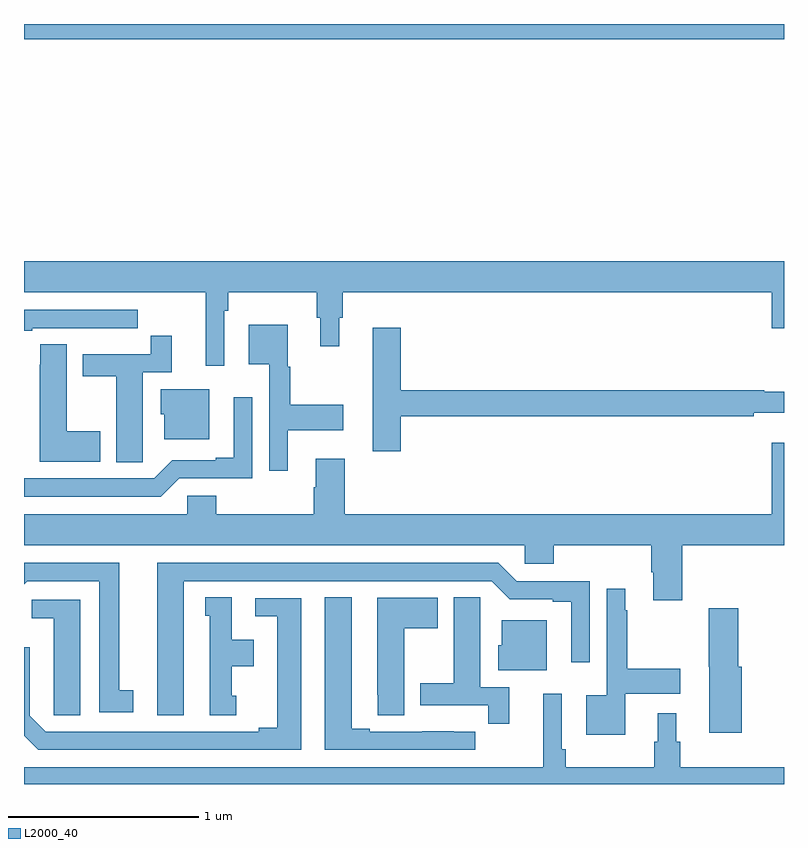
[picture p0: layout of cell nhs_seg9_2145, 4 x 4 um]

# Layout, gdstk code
import gdstk
lib = gdstk.Library(unit=1e-6, precision=1e-09)
def R(c, l, rs):  # rectangles x0, y0, x1, y1
    for r in rs: c.add(gdstk.rectangle(r[:2], r[2:], *l))
def P(c, l, *ps):  # polygons
    for p in ps: c.add(gdstk.Polygon(p, *l))
L2000_40 = (2000, 40)

nhs_seg9_2145 = lib.new_cell('nhs_seg9_2145')
R(nhs_seg9_2145, L2000_40, [(233,1196.42,237,1196.5)])
P(nhs_seg9_2145, L2000_40, [(233,1195.088),(233.957,1195.088),(233.957,1194.702),(234.054,1194.702),(234.054,1194.992),(234.074,1194.992),(234.074,1195.088),(234.541,1195.088),(234.541,1194.954),(234.56,1194.954),(234.56,1194.804),(234.658,1194.804),(234.658,1194.954),(234.677,1194.954),(234.677,1195.088),(236.936,1195.088),(236.936,1194.9),(237,1194.9),(237,1195.252),(233,1195.252)],
  [(233.044,1194.9),(233.32,1194.9),(233.32,1194.899),(233.486,1194.899),(233.486,1194.9),(233.599,1194.9),(233.599,1194.996),(233,1194.996),(233,1194.885),(233.044,1194.885)],
  [(234.388,1194.362),(234.679,1194.362),(234.679,1194.497),(234.4,1194.497),(234.4,1194.696),(234.388,1194.696),(234.388,1194.916),(234.182,1194.916),(234.182,1194.71),(234.291,1194.71),(234.291,1194.15),(234.388,1194.15)],
  [(234.983,1194.436),(236.84,1194.436),(236.84,1194.455),(237,1194.455),(237,1194.565),(236.896,1194.565),(236.896,1194.572),(234.983,1194.572),(234.983,1194.901),(234.836,1194.901),(234.836,1194.252),(234.983,1194.252)],
  [(233.625,1194.304),(233.626,1194.304),(233.626,1194.666),(233.777,1194.666),(233.777,1194.859),(233.668,1194.859),(233.668,1194.762),(233.309,1194.762),(233.309,1194.646),(233.486,1194.646),(233.486,1194.193),(233.625,1194.193)],
  [(233.401,1194.357),(233.224,1194.357),(233.224,1194.815),(233.085,1194.815),(233.085,1194.707),(233.084,1194.707),(233.084,1194.197),(233.401,1194.197)],
  [(233.974,1194.577),(233.72,1194.577),(233.72,1194.447),(233.738,1194.447),(233.738,1194.314),(233.974,1194.314)],
  [(233.817,1194.108),(234.201,1194.108),(234.201,1194.535),(234.104,1194.535),(234.104,1194.217),(234.008,1194.217),(234.008,1194.204),(233.781,1194.204),(233.685,1194.108),(233,1194.108),(233,1194.012),(233.721,1194.012)],
  [(235.635,1193.658),(235.787,1193.658),(235.787,1193.756),(236.3,1193.756),(236.3,1193.614),(236.312,1193.614),(236.312,1193.466),(236.465,1193.466),(236.465,1193.756),(237,1193.756),(237,1194.295),(236.936,1194.295),(236.936,1193.92),(234.689,1193.92),(234.689,1194.211),(234.536,1194.211),(234.536,1194.062),(234.524,1194.062),(234.524,1193.92),(234.011,1193.92),(234.011,1194.018),(233.859,1194.018),(233.859,1193.92),(233,1193.92),(233,1193.756),(235.635,1193.756)],
  [(233.842,1193.568),(235.461,1193.568),(235.557,1193.472),(235.784,1193.472),(235.784,1193.46),(235.88,1193.46),(235.88,1193.142),(235.977,1193.142),(235.977,1193.568),(235.593,1193.568),(235.497,1193.664),(233.702,1193.664),(233.702,1192.863),(233.842,1192.863)],
  [(233.575,1192.994),(233.5,1192.994),(233.5,1193.664),(233,1193.664),(233,1193.552),(233.016,1193.568),(233.396,1193.568),(233.396,1192.878),(233.575,1192.878)],
  [(236.164,1192.976),(236.455,1192.976),(236.455,1193.106),(236.176,1193.106),(236.176,1193.414),(236.164,1193.414),(236.164,1193.527),(236.067,1193.527),(236.067,1192.966),(235.958,1192.966),(235.958,1192.76),(236.164,1192.76)],
  [(235.375,1192.776),(235.262,1192.776),(235.262,1192.777),(235.096,1192.777),(235.096,1192.776),(234.82,1192.776),(234.82,1192.791),(234.724,1192.791),(234.724,1193.483),(234.584,1193.483),(234.584,1192.68),(235.375,1192.68)],
  [(235.553,1193.01),(235.402,1193.01),(235.402,1193.372),(235.401,1193.372),(235.401,1193.483),(235.262,1193.483),(235.262,1193.031),(235.085,1193.031),(235.085,1192.914),(235.444,1192.914),(235.444,1192.818),(235.553,1192.818)],
  [(234.118,1192.965),(234.094,1192.965),(234.094,1193.12),(234.208,1193.12),(234.208,1193.26),(234.094,1193.26),(234.094,1193.483),(233.954,1193.483),(233.954,1193.385),(233.978,1193.385),(233.978,1192.863),(234.118,1192.863)],
  [(235,1193.32),(235.177,1193.32),(235.177,1193.479),(234.86,1193.479),(234.86,1192.969),(234.861,1192.969),(234.861,1192.861),(235,1192.861)],
  [(234.46,1193.478),(234.216,1193.478),(234.216,1193.382),(234.332,1193.382),(234.332,1192.796),(234.236,1192.796),(234.236,1192.776),(233.115,1192.776),(233.031,1192.86),(233.031,1193.221),(233,1193.221),(233,1192.755),(233.075,1192.68),(234.46,1192.68)],
  [(233.296,1193.469),(233.04,1193.469),(233.04,1193.372),(233.156,1193.372),(233.156,1192.969),(233.157,1192.969),(233.157,1192.861),(233.296,1192.861)],
  [(236.777,1193.118),(236.759,1193.118),(236.759,1193.425),(236.605,1193.425),(236.605,1193.118),(236.606,1193.118),(236.606,1192.77),(236.777,1192.77)],
  [(235.75,1193.362),(235.514,1193.362),(235.514,1193.229),(235.496,1193.229),(235.496,1193.099),(235.75,1193.099)],
  [(237,1192.588),(236.453,1192.588),(236.453,1192.722),(236.434,1192.722),(236.434,1192.873),(236.336,1192.873),(236.336,1192.722),(236.317,1192.722),(236.317,1192.588),(235.85,1192.588),(235.85,1192.684),(235.83,1192.684),(235.83,1192.975),(235.733,1192.975),(235.733,1192.588),(233,1192.588),(233,1192.5),(237,1192.5)])

lib.write_gds('nhs_seg9_2145.gds')
